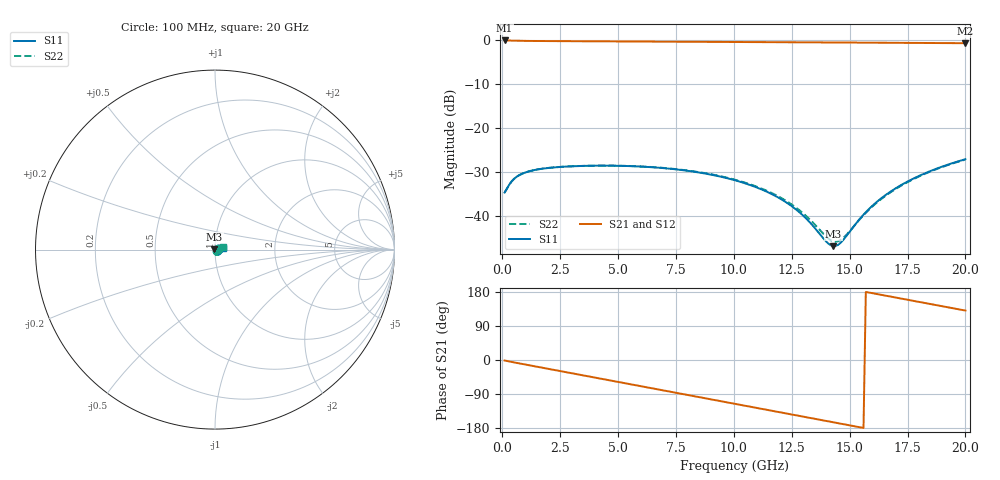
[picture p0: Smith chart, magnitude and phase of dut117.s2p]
! Touchstone file exported from HFSS 2026.1.0
!  File:  C:/ffzhzh/LocalFiles/Ansys_Project_Files/temp_train_TSV_RDL_117_1783047048_36532.aedt
!  Generated:  10:57:39 AM Jul  3, 2026
!  Design:  TSV_RDL
!  Project:  temp_train_TSV_RDL_117_1783047048_36532
! Variables:
!  h_bsmrdl = 2.23um
!  h_ox = 20um
!  h_rdl = 5um
!  h_sub = 67.8um
!  h_tmrdl = 2.46um
!  h_tsv = 67.8um
!  h_via = 3um
!  l_bsmrdl = 894.6um
!  l_sub = 3798.14um
!  l_tmrdl = 134.17um
!  m_sub = 200um
!  pitch = 35.31um
!  r_tsv = 14.37um
!  s_tmrdl = 10um
!  w_bsmrdl = 29.45um
!  w_sub = 500um
!  w_tmrdl = 29.77um
!  x_tsv_center1 = 149.055um
!  x_tsv_center2 = 1073.105um
!  x_tsv_center3 = 1237.045um
!  x_tsv_center4 = 2161.095um
!  x_tsv_center5 = 2325.035um
!  x_tsv_center6 = 3249.085um
# GHz S MA R 50.000000
! Terminal data exported
! Port[1] = TM_RDL1_1_T1
! Port[2] = TM_RDL5_1_T1
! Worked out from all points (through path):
!   200 points, 100 MHz to 20 GHz, reference 50 ohm
!   highest |S21| = -0.16 dB at 100 MHz (marker M1); lowest = -0.8 dB at 20 GHz (marker M2)
!   group delay of S21, straight-line fit = 31.8 ps
!   lowest |S11| = -46.7 dB at 14.3 GHz (marker M3), VSWR 1.01, Z = 49.6 + j0.207 ohm
!   |S11| at or under -10 dB: start of sweep to end of sweep
!   |S22| runs from -45.7 to -27.1 dB; largest |S21 - S12| = 7.7e-14
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0.1  0.01863 8.8  0.9817 -1.3  0.9817 -1.3  0.01863 8.8
! Gamma 0 0 0 0
! Port Impedance 50 0 50 0
0.5  0.02652 15.1  0.9753 -6.2  0.9753 -6.2  0.02652 15.1
1  0.03147 8.5  0.9703 -12.0  0.9703 -12.0  0.03148 8.5
2.2  0.03585 -5.7  0.9651 -25.8  0.9651 -25.8  0.03587 -5.7
3.5  0.03733 -19.1  0.962 -40.7  0.962 -40.7  0.03738 -19.1
5.2  0.03734 -36.1  0.9583 -60.2  0.9583 -60.2  0.03745 -36.2
6.8  0.03553 -52.5  0.9544 -78.6  0.9544 -78.6  0.03572 -52.7
8.4  0.03174 -69.6  0.9501 -97.0  0.9501 -97.0  0.03201 -69.9
10.1  0.02546 -88.9  0.9451 -116.5  0.9451 -116.5  0.02583 -89.4
11.1  0.02073 -101.3  0.942 -127.9  0.942 -127.9  0.02118 -102.0
12  0.01592 -114.2  0.9392 -138.2  0.9392 -138.2  0.01644 -115.1
12.7  0.01192 -126.9  0.9369 -146.2  0.9369 -146.2  0.01251 -128.0
13.4  0.007924 -146.5  0.9347 -154.2  0.9347 -154.2  0.008601 -147.4
14  0.005164 -179.8  0.9327 -161.1  0.9327 -161.1  0.005873 -177.9
14.3  0.00461 153.1  0.9318 -164.5  0.9318 -164.5  0.005216 158.3
14.5  0.004766 133.7  0.9311 -166.8  0.9311 -166.8  0.00523 140.7
14.7  0.005329 116.5  0.9305 -169.0  0.9305 -169.0  0.005629 124.0
15.7  0.01119 71.6  0.9273 179.5  0.9273 179.5  0.011 75.9
16.7  0.01859 52.5  0.9241 168.1  0.9241 168.1  0.01826 55.1
17.4  0.02404 42.8  0.9219 160.1  0.9219 160.1  0.02367 44.9
18.3  0.03117 32.1  0.919 149.9  0.919 149.9  0.03076 33.8
20  0.04444 14.4  0.9138 130.5  0.9138 130.5  0.04403 15.6
